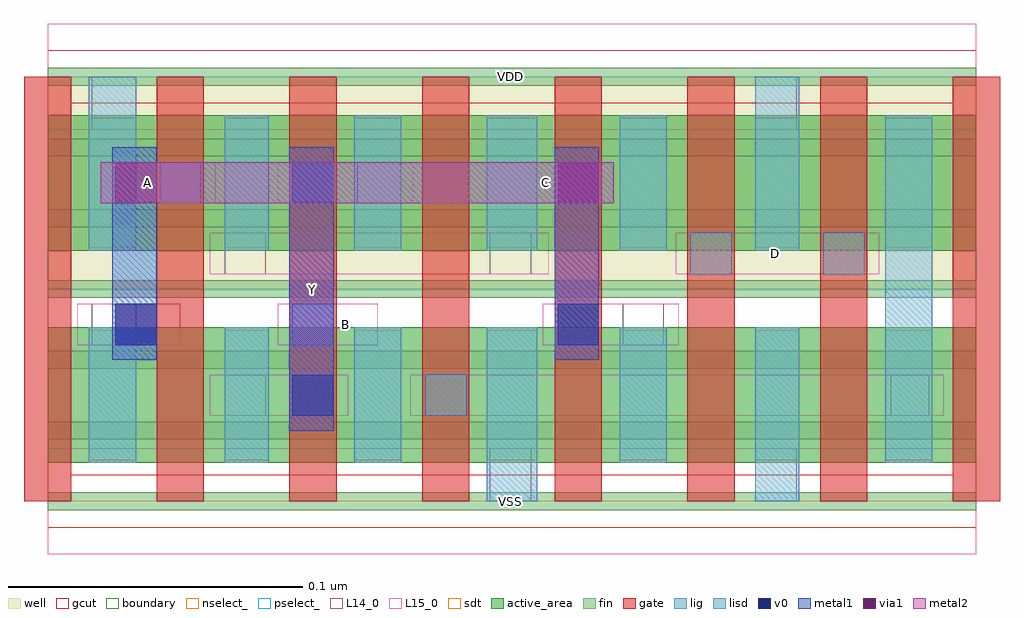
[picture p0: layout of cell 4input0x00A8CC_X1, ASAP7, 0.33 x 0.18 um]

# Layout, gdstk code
import gdstk
lib = gdstk.Library(unit=1e-6, precision=1e-09)
def R(c, l, rs):  # rectangles x0, y0, x1, y1
    for r in rs: c.add(gdstk.rectangle(r[:2], r[2:], *l))
def A(c, l, x, y, w, h, nx, ny, dx, dy):  # array of equal rectangles
    R(c, l, [(x+i*dx, y+j*dy, x+i*dx+w, y+j*dy+h) for i in range(nx) for j in range(ny)])
def P(c, l, *ps):  # polygons
    for p in ps: c.add(gdstk.Polygon(p, *l))
well = (1, 0)
fin = (2, 0)
gate = (7, 0)
gcut = (10, 0)
active_area = (11, 0)
nselect_ = (12, 0)
pselect_ = (13, 0)
L14_0 = (14, 0)
L15_0 = (15, 0)
lig = (16, 0)
lisd = (17, 0)
v0 = (18, 0)
metal1 = (19, 0)
metal2 = (20, 0)
via1 = (21, 0)
sdt = (88, 0)
boundary = (100, 0)

c_4input0x00a8cc_x1 = lib.new_cell('4input0x00A8CC_X1')
R(c_4input0x00a8cc_x1, well, [(0,0.072,0.315,0.144)])
A(c_4input0x00a8cc_x1, fin, 0, -0.003, 0.315, 0.006, 1, 7, 0, 0.024)
A(c_4input0x00a8cc_x1, gate, -0.008, 0, 0.016, 0.144, 8, 1, 0.045, 0)
P(c_4input0x00a8cc_x1, gcut, [(0,-0.009),(0,0),(-0.008,0),(-0.008,0.135),(0.008,0.135),(0.008,0.009),(0.307,0.009),(0.307,0.135),(-0.008,0.135),(-0.008,0.144),(0,0.144),(0,0.153),(0.315,0.153),(0.315,0.144),(0.323,0.144),(0.323,0),(0.315,0),(0.315,-0.009)])
R(c_4input0x00a8cc_x1, active_area, [(0,0.013,0.315,0.059), (0,0.085,0.315,0.131)])
R(c_4input0x00a8cc_x1, nselect_, [(0,0,0.315,0.072)])
R(c_4input0x00a8cc_x1, pselect_, [(0,0.072,0.315,0.144)])
R(c_4input0x00a8cc_x1, L14_0, [(0.15,0,0.164,0.018), (0.24,0,0.254,0.018), (0.06,0.029,0.074,0.043), (0.128,0.029,0.142,0.043), (0.286,0.029,0.299,0.043), (0.015,0.053,0.03,0.067), (0.083,0.053,0.097,0.067), (0.195,0.053,0.209,0.067), (0.06,0.077,0.074,0.091), (0.15,0.077,0.164,0.091), (0.218,0.077,0.232,0.091), (0.263,0.077,0.277,0.091), (0.038,0.101,0.052,0.115), (0.105,0.101,0.12,0.115), (0.173,0.101,0.187,0.115), (0.015,0.126,0.03,0.144), (0.24,0.126,0.254,0.144)])
R(c_4input0x00a8cc_x1, L15_0, [(0,-0.018,0.315,0.018), (0.055,0.029,0.102,0.043), (0.123,0.029,0.304,0.043), (0.01,0.053,0.045,0.067), (0.078,0.053,0.112,0.067), (0.168,0.053,0.214,0.067), (0.055,0.077,0.17,0.091), (0.213,0.077,0.282,0.091), (0.022,0.101,0.057,0.115), (0.078,0.101,0.124,0.115), (0.157,0.101,0.192,0.115), (0,0.126,0.315,0.162)])
R(c_4input0x00a8cc_x1, lig, [(0.128,0.029,0.142,0.043), (0.083,0.053,0.097,0.067), (0.218,0.077,0.232,0.091), (0.263,0.077,0.277,0.091), (0.038,0.101,0.052,0.115), (0.173,0.101,0.187,0.115)])
A(c_4input0x00a8cc_x1, lisd, 0.014, 0.013, 0.016, 0.046, 3, 1, 0.09, 0)
R(c_4input0x00a8cc_x1, lisd, [(0.149,0,0.166,0.059), (0.24,0,0.255,0.059), (0.06,0.013,0.075,0.059), (0.284,0.013,0.3,0.131), (0.014,0.085,0.03,0.144), (0.06,0.085,0.075,0.131), (0.104,0.085,0.12,0.131), (0.149,0.085,0.166,0.131), (0.194,0.085,0.21,0.131), (0.24,0.085,0.255,0.144)])
R(c_4input0x00a8cc_x1, v0, [(0.083,0.029,0.097,0.043), (0.023,0.053,0.037,0.067), (0.173,0.053,0.187,0.067), (0.083,0.101,0.097,0.115)])
R(c_4input0x00a8cc_x1, metal1, [(0.082,0.024,0.097,0.12), (0.022,0.048,0.037,0.12), (0.172,0.048,0.187,0.12)])
R(c_4input0x00a8cc_x1, metal2, [(0.018,0.101,0.192,0.115)])
R(c_4input0x00a8cc_x1, via1, [(0.023,0.101,0.037,0.115), (0.173,0.101,0.187,0.115)])
A(c_4input0x00a8cc_x1, sdt, 0.014, 0.014, 0.016, 0.044, 4, 2, 0.09, 0.072)
R(c_4input0x00a8cc_x1, sdt, [(0.06,0.014,0.075,0.058), (0.149,0.014,0.166,0.058), (0.24,0.014,0.255,0.058), (0.06,0.086,0.075,0.13), (0.149,0.086,0.166,0.13), (0.24,0.086,0.255,0.13)])
R(c_4input0x00a8cc_x1, boundary, [(0,0,0.315,0.144)])
c_4input0x00a8cc_x1.add(gdstk.Label('D', (0.247,0.084), layer=15, texttype=251))
c_4input0x00a8cc_x1.add(gdstk.Label('VSS', (0.157,0), layer=15, texttype=251))
c_4input0x00a8cc_x1.add(gdstk.Label('VDD', (0.157,0.144), layer=15, texttype=251))
c_4input0x00a8cc_x1.add(gdstk.Label('VSS', (0.157,0), layer=15, texttype=251))
c_4input0x00a8cc_x1.add(gdstk.Label('VDD', (0.157,0.144), layer=15, texttype=251))
c_4input0x00a8cc_x1.add(gdstk.Label('C', (0.169,0.108), layer=15, texttype=251))
c_4input0x00a8cc_x1.add(gdstk.Label('VSS', (0.157,0), layer=15, texttype=251))
c_4input0x00a8cc_x1.add(gdstk.Label('VDD', (0.157,0.144), layer=15, texttype=251))
c_4input0x00a8cc_x1.add(gdstk.Label('B', (0.101,0.06), layer=15, texttype=251))
c_4input0x00a8cc_x1.add(gdstk.Label('VSS', (0.157,0), layer=15, texttype=251))
c_4input0x00a8cc_x1.add(gdstk.Label('VDD', (0.157,0.144), layer=15, texttype=251))
c_4input0x00a8cc_x1.add(gdstk.Label('A', (0.034,0.108), layer=15, texttype=251))
c_4input0x00a8cc_x1.add(gdstk.Label('VSS', (0.157,0), layer=15, texttype=251))
c_4input0x00a8cc_x1.add(gdstk.Label('VDD', (0.157,0.144), layer=15, texttype=251))
c_4input0x00a8cc_x1.add(gdstk.Label('VSS', (0.157,0), layer=3, texttype=251))
c_4input0x00a8cc_x1.add(gdstk.Label('VSS', (0.157,0), layer=3, texttype=251))
c_4input0x00a8cc_x1.add(gdstk.Label('VSS', (0.157,0), layer=3, texttype=251))
c_4input0x00a8cc_x1.add(gdstk.Label('VSS', (0.157,0), layer=3, texttype=251))
c_4input0x00a8cc_x1.add(gdstk.Label('VSS', (0.157,0), layer=3, texttype=251))
c_4input0x00a8cc_x1.add(gdstk.Label('VDD', (0.157,0.144), layer=1, texttype=251))
c_4input0x00a8cc_x1.add(gdstk.Label('VDD', (0.157,0.144), layer=1, texttype=251))
c_4input0x00a8cc_x1.add(gdstk.Label('VDD', (0.157,0.144), layer=1, texttype=251))
c_4input0x00a8cc_x1.add(gdstk.Label('VDD', (0.157,0.144), layer=1, texttype=251))
c_4input0x00a8cc_x1.add(gdstk.Label('VDD', (0.157,0.144), layer=1, texttype=251))
c_4input0x00a8cc_x1.add(gdstk.Label('Y', (0.09,0.072), layer=19, texttype=251))

lib.write_gds('4input0x00A8CC_X1.gds')
